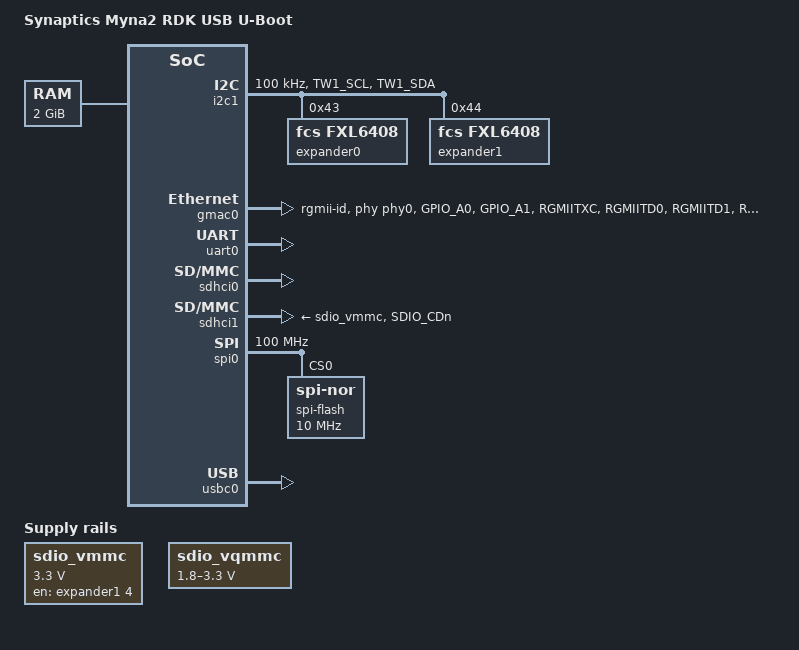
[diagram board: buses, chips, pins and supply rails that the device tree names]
// SPDX-License-Identifier: GPL-2.0+
/*
 * Copyright (C) 2016~2023 Synaptics Incorporated. All rights reserved.
 *
 * This program is free software; you can redistribute it and/or modify
 * it under the terms of the GNU General Public License version 2 or
 * later as published by the Free Software Foundation.
 *
 * INFORMATION CONTAINED IN THIS DOCUMENT IS PROVIDED "AS-IS," AND
 * SYNAPTICS EXPRESSLY DISCLAIMS ALL EXPRESS AND IMPLIED WARRANTIES,
 * INCLUDING ANY IMPLIED WARRANTIES OF MERCHANTABILITY AND FITNESS FOR
 * A PARTICULAR PURPOSE, AND ANY WARRANTIES OF NON-INFRINGEMENT OF ANY
 * INTELLECTUAL PROPERTY RIGHTS. IN NO EVENT SHALL SYNAPTICS BE LIABLE
 * FOR ANY DIRECT, INDIRECT, INCIDENTAL, SPECIAL, PUNITIVE, OR
 * CONSEQUENTIAL DAMAGES ARISING OUT OF OR IN CONNECTION WITH THE USE
 * OF THE INFORMATION CONTAINED IN THIS DOCUMENT, HOWEVER CAUSED AND
 * BASED ON ANY THEORY OF LIABILITY, WHETHER IN AN ACTION OF CONTRACT,
 * NEGLIGENCE OR OTHER TORTIOUS ACTION, AND EVEN IF SYNAPTICS WAS
 * ADVISED OF THE POSSIBILITY OF SUCH DAMAGE. IF A TRIBUNAL OF
 * COMPETENT JURISDICTION DOES NOT PERMIT THE DISCLAIMER OF DIRECT
 * DAMAGES OR ANY OTHER DAMAGES, SYNAPTICS' TOTAL CUMULATIVE LIABILITY
 * TO ANY PARTY SHALL NOT EXCEED ONE HUNDRED U.S. DOLLARS.
 */

/dts-v1/;

#include "myna2.dtsi"
#include <dt-bindings/gpio/gpio.h>

/ {
	model = "Synaptics Myna2 RDK USB U-Boot";
	compatible = "Synaptics,myna2", "Synaptics,asserial";

	memory {
		device_type = "memory";
		reg = <0 0 0 0x80000000>;
	};

	chosen {
		stdout-path = &usbc0;
	};

	regulators {
		compatible = "simple-bus";
		#address-cells = <1>;
		#size-cells = <0>;

		sdio_vmmc: sdio_vmmc {
			compatible = "regulator-fixed";
			regulator-min-microvolt = <3300000>;
			regulator-max-microvolt = <3300000>;
			regulator-name = "vmmc_sdio";
			enable-active-high;
			gpio = <&expander1 4 GPIO_ACTIVE_HIGH>;
		};

		sdio_vqmmc: sdio_vqmmc {
			compatible = "regulator-gpio";
			pinctrl-names = "default";
			regulator-min-microvolt = <1800000>;
			regulator-max-microvolt = <3300000>;
			regulator-name = "vqmmc_sdio";
			regulator-type = "voltage";
			states = <1800000 0x0 3300000 0x1>;
			gpios = <&expander1 6 GPIO_ACTIVE_HIGH>;
		};
	};
};

&pinctrl {
	emmc_pmux: emmc-pmux {
		groups = "EMMC_RSTn", "EMMC_DATA0", "EMMC_DATA1", "EMMC_DATA2", "EMMC_DATA3", "EMMC_DATA4", "EMMC_DATA5", "EMMC_DATA6", "EMMC_DATA7", "EMMC_CLK", "EMMC_CMD";
		function = "emmc";
	};

	sdio_pmux: sdio_pmux {
		groups = "SDIO_CDn";
		function = "sdio";
	};

	rgmii_pmux: rgmii-pmux {
		groups = "GPIO_A0", "GPIO_A1", "RGMIITXC", "RGMIITD0", "RGMIITD1", "RGMIITD2", "RGMIITD3", "RGMIITXCTL", "RGMIIRXC", "RGMIIRD0", "RGMIIRD1", "RGMIIRD2", "RGMIIRD3", "RGMIIRXCTL", "RGMII_CLK_OUT";
		function = "rgmii";
	};

	i2c1_pmux: i2c1-pmux {
		groups = "TW1_SCL", "TW1_SDA";
		function = "tw1";
		drive-strength = <7>;
	};
};

&i2c1 {
	status = "okay";
	pinctrl-0 = <&i2c1_pmux>;
	pinctrl-names = "default";
	clock-frequency = <100000>;
	i2c-sda-hold-time-ns = <449>;
	i2c-scl-rising-time-ns = <120>;
	i2c-scl-falling-time-ns = <20>;

	expander0: gpio@43 {
		compatible = "fcs,fxl6408";
		reg = <0x43>;
		gpio-controller;
		#gpio-cells = <2>;
	};

	expander1: gpio@44 {
		compatible = "fcs,fxl6408";
		reg = <0x44>;
		gpio-controller;
		#gpio-cells = <2>;
	};
};

&phy0 {
	reg = <0>;
};

&gmac0 {
	status = "okay";
	max-speed = <1000>;
	phy-mode = "rgmii-id";
	phy-handle = <&phy0>;
	phy = <&phy0>;
	pinctrl-names = "default";
	pinctrl-0 = <&rgmii_pmux>;
	snps,reset-gpio = <&expander0 3 GPIO_ACTIVE_HIGH>;
	snps,reset-active-high;
	snps,reset-delays-us = <0 10000 50000>;
};

&CPU_SLEEP_0 {
	status = "disabled";
};

&uart0 {
	status = "okay";
};

&sdhci0 {
	status = "okay";
	mmc-ddr-1_8v;
	mmc-hs200-1_8v;
	mmc-hs400-1_8v;
	fixed-voltage;
};

&sdhci1 {
	status="okay";
	pinctrl-0 = <&sdio_pmux>;
	pinctrl-names = "default";
	sdhci-sdio;
	cap-sd-highspeed;
	sd-uhs-sdr12;
	sd-uhs-sdr25;
	sd-uhs-sdr50;
	sd-uhs-sdr104;
	fixed-voltage;
	vmmc-supply = <&sdio_vmmc>;
	vqmmc-supply = <&sdio_vqmmc>;
};

&spi0 {
	status = "okay";
	max-write-size = <128>;
	clock-frequency = <100000000>;
	spi-flash@0 {
		#address-cells = <1>;
		#size-cells = <1>;
		compatible = "jedec,spi-nor";
		reg = <0>;
		memory-map = <0x0 0xf0000000 0x0 0x4000000>;
		spi-max-frequency = <10000000>;
	};
};

&usbc0 {
	status = "okay";
};
